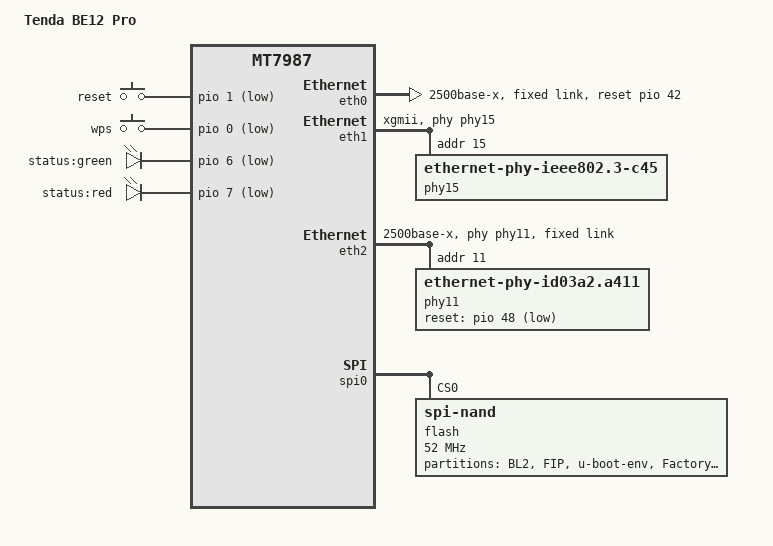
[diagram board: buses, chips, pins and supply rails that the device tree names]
// SPDX-License-Identifier: (GPL-2.0 OR MIT)

/dts-v1/;
#include "mt7987a.dtsi"
#include "mt7987a-u-boot.dtsi"
#include "mt7987-netsys-u-boot.dtsi"
#include <dt-bindings/input/input.h>

/ {
	model = "Tenda BE12 Pro";
	compatible = "tenda,be12-pro", "mediatek,mt7987a", "mediatek,mt7987";

	chosen {
		bootargs = "console=ttyS0,115200n1 loglevel=8 earlycon=uart8250,mmio32,0x11000000 pci=pcie_bus_perf ubi.block=0,firmware root=/dev/fit0 rootwait";
		stdout-path = "serial0:115200n1";
	};

	aliases {
		serial0 = &uart0;
		led-boot = &status_green;
		led-failsafe = &status_red;
		led-running = &status_green;
		led-upgrade = &status_red;
	};

	config {
		blink_led = "status:red";
		system_led = "status:green";
	};

	gpio-keys {
		compatible = "gpio-keys";

		reset {
			label = "reset";
			linux,code = <KEY_RESTART>;
			gpios = <&pio 1 GPIO_ACTIVE_LOW>;
			debounce-interval = <10>;
		};

		wps {
			label = "wps";
			linux,code = <KEY_WPS_BUTTON>;
			gpios = <&pio 0 GPIO_ACTIVE_LOW>;
			debounce-interval = <10>;
		};
	};

	gpio-leds {
		compatible = "gpio-leds";

		status_green: status-green {
			label = "status:green";
			gpios = <&pio 6 GPIO_ACTIVE_LOW>;
			default-state = "off";
		};

		status_red: status-red {
			label = "status:red";
			gpios = <&pio 7 GPIO_ACTIVE_LOW>;
			default-state = "off";
		};
	};
};

&eth0 {
	status = "okay";
	pinctrl-names = "default";
	pinctrl-0 = <&mdio0_pins>;
	phy-mode = "2500base-x";
	mediatek,switch = "an8855";
	reset-gpios = <&pio 42 GPIO_ACTIVE_HIGH>;

	fixed-link {
		speed = <2500>;
		full-duplex;
		pause;
	};
};

&eth1 {
	status = "okay";
	pinctrl-names = "i2p5gbe-led";
	pinctrl-0 = <&i2p5gbe_led0_pins>;
	phy-mode = "xgmii";
	phy-handle = <&phy15>;

	phy15: ethernet-phy@15 {
		compatible = "ethernet-phy-ieee802.3-c45";
		reg = <15>;
		phy-mode = "xgmii";
	};
};

&eth2 {
	status = "okay";
	pinctrl-names = "default";
	pinctrl-0 = <&mdio0_pins>;
	phy-mode = "2500base-x";
	phy-handle = <&phy11>;

	fixed-link {
		speed = <2500>;
		full-duplex;
	};

	phy11: ethernet-phy@11 {
		compatible = "ethernet-phy-id03a2.a411";
		reg = <11>;
		phy-mode = "2500base-x";
		reset-gpios = <&pio 48 GPIO_ACTIVE_LOW>;
		reset-assert-us = <100000>;
		reset-deassert-us = <100000>;
	};
};

&spi0 {
	pinctrl-names = "default";
	pinctrl-0 = <&spi0_flash_pins>;
	status = "okay";

	flash@0 {
		compatible = "spi-nand";
		reg = <0>;
		spi-max-frequency = <52000000>;
		spi-tx-bus-width = <4>;
		spi-rx-bus-width = <4>;
		mediatek,nmbm;
		mediatek,bmt-max-ratio = <1>;
		mediatek,bmt-max-reserved-blocks = <64>;

		partitions {
			compatible = "fixed-partitions";
			#address-cells = <1>;
			#size-cells = <1>;

			partition@0 {
				label = "BL2";
				reg = <0x0000000 0x0100000>;
				read-only;
			};

			partition@100000 {
				label = "FIP";
				reg = <0x0100000 0x0200000>;
			};

			partition@300000 {
				label = "u-boot-env";
				reg = <0x0300000 0x0080000>;
			};

			factory: partition@380000 {
				label = "Factory";
				reg = <0x0380000 0x0400000>;
				read-only;
			};

			partition@780000 {
				label = "kernel";
				reg = <0x0780000 0x0600000>;
			};

			partition@d80000 {
				label = "ubi";
				reg = <0x0d80000 0x5a00000>;
				compatible = "linux,ubi";

				volumes {
					ubi_rootfs: ubi-volume-fit {
						volname = "firmware";
					};
				};
			};

			partition@6780000 {
				label = "CFG";
				reg = <0x6780000 0x0400000>;
				read-only;
			};

			partition@6b80000 {
				label = "MISC2";
				reg = <0x6b80000 0x0400000>;
				read-only;
			};
		};
	};
};
